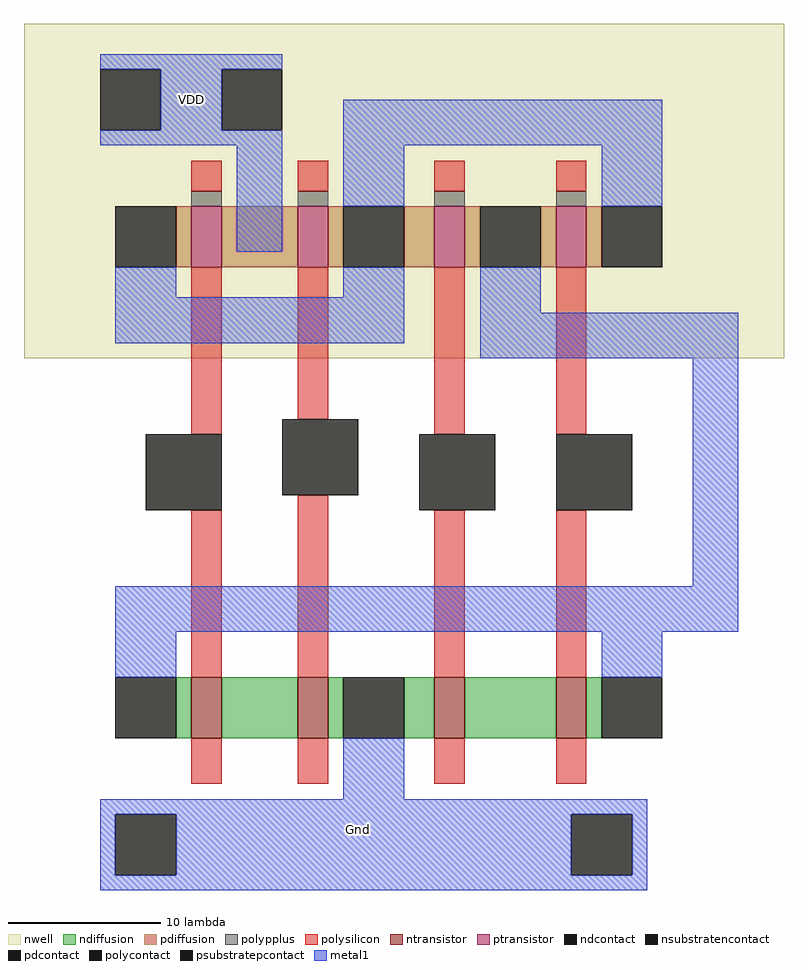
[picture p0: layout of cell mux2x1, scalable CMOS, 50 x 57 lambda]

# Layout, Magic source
magic
tech scmos
<< nwell >>
rect -17 -3 33 19
<< ntransistor >>
rect -6 -28 -4 -24
rect 1 -28 3 -24
rect 10 -28 12 -24
rect 18 -28 20 -24
<< ptransistor >>
rect -6 3 -4 7
rect 1 3 3 7
rect 10 3 12 7
rect 18 3 20 7
<< ndiffusion >>
rect -7 -28 -6 -24
rect -4 -28 1 -24
rect 3 -28 4 -24
rect 8 -28 10 -24
rect 12 -28 18 -24
rect 20 -28 21 -24
<< pdiffusion >>
rect -7 3 -6 7
rect -4 3 1 7
rect 3 3 4 7
rect 8 3 10 7
rect 12 3 13 7
rect 17 3 18 7
rect 20 3 21 7
<< ndcontact >>
rect -11 -28 -7 -24
rect 4 -28 8 -24
rect 21 -28 25 -24
<< pdcontact >>
rect -11 3 -7 7
rect 4 3 8 7
rect 13 3 17 7
rect 21 3 25 7
<< psubstratepcontact >>
rect -11 -37 -7 -33
rect 19 -37 23 -33
<< nsubstratencontact >>
rect -12 12 -8 16
rect -4 12 0 16
<< polysilicon >>
rect -6 8 -4 10
rect 1 8 3 10
rect 10 8 12 10
rect 18 8 20 10
rect -6 -8 -4 3
rect 1 -7 3 3
rect 10 -8 12 3
rect 18 -8 20 3
rect -6 -24 -4 -13
rect 1 -24 3 -12
rect 10 -24 12 -13
rect 18 -24 20 -13
rect -6 -31 -4 -28
rect 1 -31 3 -28
rect 10 -31 12 -28
rect 18 -31 20 -28
<< polycontact >>
rect -9 -13 -4 -8
rect 0 -12 5 -7
rect 9 -13 14 -8
rect 18 -13 23 -8
<< polypplus >>
rect -6 7 -4 8
rect 1 7 3 8
rect 10 7 12 8
rect 18 7 20 8
<< metal1 >>
rect -12 16 0 17
rect -8 12 -4 16
rect -12 11 0 12
rect -3 4 0 11
rect 4 11 25 14
rect 4 7 8 11
rect 21 7 25 11
rect -11 1 -7 3
rect 4 1 8 3
rect -11 -2 8 1
rect 13 0 17 3
rect 13 -3 30 0
rect 27 -18 30 -3
rect -11 -21 30 -18
rect -11 -24 -7 -21
rect 21 -24 25 -21
rect 4 -32 8 -28
rect -12 -33 24 -32
rect -12 -37 -11 -33
rect -7 -37 19 -33
rect 23 -37 24 -33
rect -12 -38 24 -37
<< labels >>
rlabel metal1 5 -34 5 -34 1 Gnd
rlabel metal1 -6 14 -6 14 5 VDD
<< end >>
